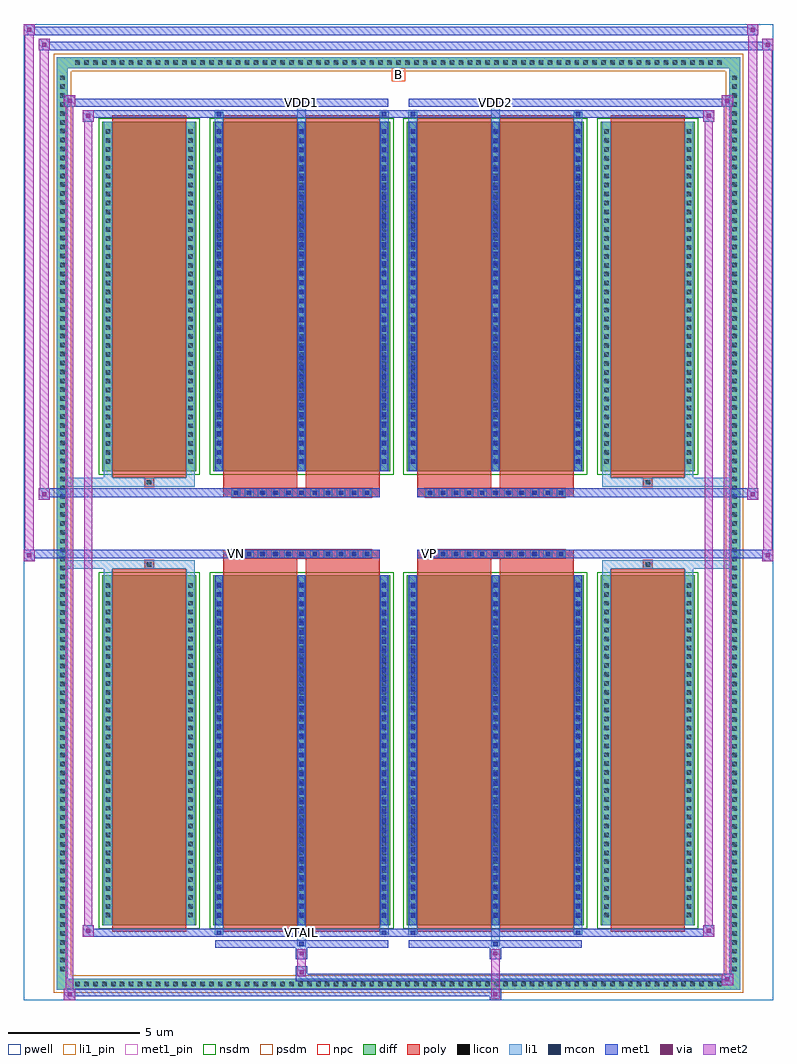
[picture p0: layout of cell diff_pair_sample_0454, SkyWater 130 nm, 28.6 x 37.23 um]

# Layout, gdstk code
import gdstk
lib = gdstk.Library(unit=1e-6, precision=5e-09)
def R(c, l, rs):  # rectangles x0, y0, x1, y1
    for r in rs: c.add(gdstk.rectangle(r[:2], r[2:], *l))
def A(c, l, x, y, w, h, nx, ny, dx, dy):  # array of equal rectangles
    R(c, l, [(x+i*dx, y+j*dy, x+i*dx+w, y+j*dy+h) for i in range(nx) for j in range(ny)])
def P(c, l, *ps):  # polygons
    for p in ps: c.add(gdstk.Polygon(p, *l))
pwell = (64, 44)
diff = (65, 20)
poly = (66, 20)
licon = (66, 44)
li1_pin = (67, 16)
li1 = (67, 20)
mcon = (67, 44)
met1_pin = (68, 16)
met1 = (68, 20)
via = (68, 44)
met2 = (69, 20)
nsdm = (93, 44)
psdm = (94, 20)
npc = (95, 20)

diff_pair_sample_0454 = lib.new_cell('diff_pair_sample_0454')
R(diff_pair_sample_0454, pwell, [(-14.3,-18.18,14.3,19.05), (-11.62,-16.37,-0.01,-0.805), (0.01,-16.37,11.62,-0.805), (-11.62,0.805,-0.01,16.37), (0.01,0.805,11.62,16.37)])
A(diff_pair_sample_0454, diff, -12.445, -17.78, 0.41, 0.41, 73, 2, 0.34, 35.15)
A(diff_pair_sample_0454, diff, -13.03, -17.205, 0.41, 0.41, 1, 101, 0, 0.34)
A(diff_pair_sample_0454, diff, 12.62, -17.205, 0.41, 0.41, 1, 101, 0, 0.34)
R(diff_pair_sample_0454, diff, [(-12.445,-17.78,12.445,-17.37), (-13.03,-17.205,-12.62,17.205), (12.62,-17.205,13.03,17.205), (-11.31,-15.325,-7.71,-1.985), (-7.07,-15.325,-0.32,-1.985), (0.32,-15.325,7.07,-1.985), (7.71,-15.325,11.31,-1.985), (-11.31,1.985,-7.71,15.325), (-7.07,1.985,-0.32,15.325), (0.32,1.985,7.07,15.325), (7.71,1.985,11.31,15.325), (-12.445,17.37,12.445,17.78)])
P(diff_pair_sample_0454, diff, [(13.03,17.78),(-13.03,17.78),(-13.03,-17.37),(-12.62,-17.37),(-12.62,17.37),(12.62,17.37),(12.62,-17.37),(-12.62,-17.37),(-13.03,-17.37),(-13.03,-17.78),(13.03,-17.78)])
A(diff_pair_sample_0454, poly, -6.36, -1.335, 0.33, 0.33, 11, 2, 0.5, 2.34)
A(diff_pair_sample_0454, poly, 1.03, -1.335, 0.33, 0.33, 11, 2, 0.5, 2.34)
R(diff_pair_sample_0454, poly, [(-10.92,-15.575,-8.1,-1.735), (-6.68,-15.575,-3.86,-1.735), (-3.53,-15.575,-0.71,-1.735), (0.71,-15.575,3.53,-1.735), (3.86,-15.575,6.68,-1.735), (8.1,-15.575,10.92,-1.735), (-9.675,-1.735,-9.345,-1.405), (-9.675,-1.735,-9.345,-1.405), (-6.68,-1.735,-3.86,-1.335), (-3.53,-1.735,-0.71,-1.335), (0.71,-1.735,3.53,-1.335), (3.86,-1.735,6.68,-1.335), (9.345,-1.735,9.675,-1.405), (9.345,-1.735,9.675,-1.405), (-6.68,-1.335,-0.71,-1.005), (0.71,-1.335,6.68,-1.005), (-6.68,1.005,-0.71,1.335), (0.71,1.005,6.68,1.335), (-6.68,1.335,-3.86,1.735), (-3.53,1.335,-0.71,1.735), (0.71,1.335,3.53,1.735), (3.86,1.335,6.68,1.735), (-9.675,1.405,-9.345,1.735), (-9.675,1.405,-9.345,1.735), (9.345,1.405,9.675,1.735), (9.345,1.405,9.675,1.735), (-10.92,1.735,-8.1,15.575), (-6.68,1.735,-3.86,15.575), (-3.53,1.735,-0.71,15.575), (0.71,1.735,3.53,15.575), (3.86,1.735,6.68,15.575), (8.1,1.735,10.92,15.575)])
A(diff_pair_sample_0454, licon, -12.325, -17.66, 0.17, 0.17, 73, 2, 0.34, 35.15)
A(diff_pair_sample_0454, licon, -12.91, -17.085, 0.17, 0.17, 1, 101, 0, 0.34)
A(diff_pair_sample_0454, licon, 12.74, -17.085, 0.17, 0.17, 1, 101, 0, 0.34)
A(diff_pair_sample_0454, licon, -11.17, -15.03, 0.17, 0.17, 1, 38, 0, 0.34)
A(diff_pair_sample_0454, licon, -8.02, -15.03, 0.17, 0.17, 1, 38, 0, 0.34)
A(diff_pair_sample_0454, licon, -6.93, -15.03, 0.17, 0.17, 3, 38, 3.15, 0.34)
A(diff_pair_sample_0454, licon, 0.46, -15.03, 0.17, 0.17, 3, 38, 3.15, 0.34)
A(diff_pair_sample_0454, licon, 7.85, -15.03, 0.17, 0.17, 1, 38, 0, 0.34)
A(diff_pair_sample_0454, licon, 11, -15.03, 0.17, 0.17, 1, 38, 0, 0.34)
A(diff_pair_sample_0454, licon, -6.28, -1.255, 0.17, 0.17, 11, 2, 0.5, 2.34)
A(diff_pair_sample_0454, licon, 1.11, -1.255, 0.17, 0.17, 11, 2, 0.5, 2.34)
A(diff_pair_sample_0454, licon, -11.17, 2.28, 0.17, 0.17, 1, 38, 0, 0.34)
A(diff_pair_sample_0454, licon, -8.02, 2.28, 0.17, 0.17, 1, 38, 0, 0.34)
A(diff_pair_sample_0454, licon, -6.93, 2.28, 0.17, 0.17, 3, 38, 3.15, 0.34)
A(diff_pair_sample_0454, licon, 0.46, 2.28, 0.17, 0.17, 3, 38, 3.15, 0.34)
A(diff_pair_sample_0454, licon, 7.85, 2.28, 0.17, 0.17, 1, 38, 0, 0.34)
A(diff_pair_sample_0454, licon, 11, 2.28, 0.17, 0.17, 1, 38, 0, 0.34)
R(diff_pair_sample_0454, licon, [(-9.595,-1.655,-9.425,-1.485), (9.425,-1.655,9.595,-1.485), (-9.595,1.485,-9.425,1.655), (9.425,1.485,9.595,1.655)])
R(diff_pair_sample_0454, li1_pin, [(-0.25,16.87,0.25,17.37)])
A(diff_pair_sample_0454, li1, -12.405, -17.74, 0.33, 0.33, 73, 2, 0.34, 35.15)
A(diff_pair_sample_0454, li1, -12.99, -17.165, 0.33, 0.33, 1, 101, 0, 0.34)
A(diff_pair_sample_0454, li1, 12.66, -17.165, 0.33, 0.33, 1, 101, 0, 0.34)
A(diff_pair_sample_0454, li1, -7.01, -15.325, 0.33, 13.34, 3, 2, 3.15, 17.31)
A(diff_pair_sample_0454, li1, 0.38, -15.325, 0.33, 13.34, 3, 2, 3.15, 17.31)
A(diff_pair_sample_0454, li1, -11.25, -15.11, 0.33, 0.33, 1, 38, 0, 0.34)
A(diff_pair_sample_0454, li1, -8.1, -15.11, 0.33, 0.33, 1, 38, 0, 0.34)
A(diff_pair_sample_0454, li1, -7.01, -15.11, 0.33, 0.33, 3, 38, 3.15, 0.34)
A(diff_pair_sample_0454, li1, 0.38, -15.11, 0.33, 0.33, 3, 38, 3.15, 0.34)
A(diff_pair_sample_0454, li1, 7.77, -15.11, 0.33, 0.33, 1, 38, 0, 0.34)
A(diff_pair_sample_0454, li1, 10.92, -15.11, 0.33, 0.33, 1, 38, 0, 0.34)
A(diff_pair_sample_0454, li1, -6.93, -15.04, 0.17, 0.17, 3, 36, 3.15, 0.36)
A(diff_pair_sample_0454, li1, -6.93, -15.04, 0.17, 12.77, 3, 2, 3.15, 17.31)
A(diff_pair_sample_0454, li1, 0.46, -15.04, 0.17, 0.17, 3, 36, 3.15, 0.36)
A(diff_pair_sample_0454, li1, 0.46, -15.04, 0.17, 12.77, 3, 2, 3.15, 17.31)
A(diff_pair_sample_0454, li1, -6.36, -1.335, 0.33, 0.33, 11, 2, 0.5, 2.34)
A(diff_pair_sample_0454, li1, 1.03, -1.335, 0.33, 0.33, 11, 2, 0.5, 2.34)
A(diff_pair_sample_0454, li1, -11.25, 2.2, 0.33, 0.33, 1, 38, 0, 0.34)
A(diff_pair_sample_0454, li1, -8.1, 2.2, 0.33, 0.33, 1, 38, 0, 0.34)
A(diff_pair_sample_0454, li1, -7.01, 2.2, 0.33, 0.33, 3, 38, 3.15, 0.34)
A(diff_pair_sample_0454, li1, 0.38, 2.2, 0.33, 0.33, 3, 38, 3.15, 0.34)
A(diff_pair_sample_0454, li1, 7.77, 2.2, 0.33, 0.33, 1, 38, 0, 0.34)
A(diff_pair_sample_0454, li1, 10.92, 2.2, 0.33, 0.33, 1, 38, 0, 0.34)
A(diff_pair_sample_0454, li1, -6.93, 2.27, 0.17, 0.17, 3, 36, 3.15, 0.36)
A(diff_pair_sample_0454, li1, 0.46, 2.27, 0.17, 0.17, 3, 36, 3.15, 0.36)
R(diff_pair_sample_0454, li1, [(-13.03,-17.78,-12.62,-17.37), (-13.03,-17.78,-12.62,-17.37), (-12.62,-17.78,12.62,-17.37), (12.62,-17.78,13.03,-17.37), (12.62,-17.78,13.03,-17.37), (-13.03,-17.37,-12.62,17.37), (12.62,-17.37,13.03,17.37), (-3.86,-16.13,-3.53,-15.325), (-3.78,-16.13,-3.61,-15.96), (3.53,-16.13,3.86,-15.325), (3.61,-16.13,3.78,-15.96), (-7.01,-15.7,-6.68,-15.325), (-6.93,-15.7,-6.76,-15.53), (-0.71,-15.7,-0.38,-15.325), (-0.63,-15.7,-0.46,-15.53), (0.38,-15.7,0.71,-15.325), (0.46,-15.7,0.63,-15.53), (6.68,-15.7,7.01,-15.325), (6.76,-15.7,6.93,-15.53), (-11.25,-15.325,-10.92,-1.985), (-8.1,-15.325,-7.77,-1.985), (7.77,-15.325,8.1,-1.985), (10.92,-15.325,11.25,-1.985), (-11.25,-1.985,-10.92,-1.405), (-8.1,-1.985,-7.77,-1.405), (7.77,-1.985,8.1,-1.405), (10.92,-1.985,11.25,-1.405), (-13.03,-1.735,-9.675,-1.405), (-11.25,-1.735,-9.675,-1.405), (-9.675,-1.735,-9.345,-1.405), (-9.345,-1.735,-7.77,-1.405), (7.77,-1.735,9.345,-1.405), (9.345,-1.735,9.675,-1.405), (9.345,-1.735,13.03,-1.405), (9.675,-1.735,11.25,-1.405), (-13.03,1.405,-9.675,1.735), (-11.25,1.405,-9.675,1.735), (-11.25,1.405,-10.92,1.985), (-9.675,1.405,-9.345,1.735), (-9.345,1.405,-7.77,1.735), (-8.1,1.405,-7.77,1.985), (7.77,1.405,9.345,1.735), (7.77,1.405,8.1,1.985), (9.345,1.405,9.675,1.735), (9.345,1.405,13.03,1.735), (9.675,1.405,11.25,1.735), (10.92,1.405,11.25,1.985), (-11.25,1.985,-10.92,15.325), (-8.1,1.985,-7.77,15.325), (7.77,1.985,8.1,15.325), (10.92,1.985,11.25,15.325), (-7.01,15.325,-6.68,15.7), (-3.86,15.325,-3.53,16.13), (-0.71,15.325,-0.38,15.7), (0.38,15.325,0.71,15.7), (3.53,15.325,3.86,16.13), (6.68,15.325,7.01,15.7), (-6.93,15.53,-6.76,15.7), (-0.63,15.53,-0.46,15.7), (0.46,15.53,0.63,15.7), (6.76,15.53,6.93,15.7), (-3.78,15.96,-3.61,16.13), (3.61,15.96,3.78,16.13), (-13.03,17.37,-12.62,17.78), (-13.03,17.37,-12.62,17.78), (-12.62,17.37,12.62,17.78), (12.62,17.37,13.03,17.78), (12.62,17.37,13.03,17.78)])
A(diff_pair_sample_0454, mcon, -6.93, -15.04, 0.17, 0.17, 3, 36, 3.15, 0.36)
A(diff_pair_sample_0454, mcon, 0.46, -15.04, 0.17, 0.17, 3, 36, 3.15, 0.36)
A(diff_pair_sample_0454, mcon, -6.28, -1.255, 0.17, 0.17, 11, 2, 0.5, 2.34)
A(diff_pair_sample_0454, mcon, 1.11, -1.255, 0.17, 0.17, 11, 2, 0.5, 2.34)
A(diff_pair_sample_0454, mcon, -6.93, 2.27, 0.17, 0.17, 3, 36, 3.15, 0.36)
A(diff_pair_sample_0454, mcon, 0.46, 2.27, 0.17, 0.17, 3, 36, 3.15, 0.36)
R(diff_pair_sample_0454, mcon, [(-3.78,-16.13,-3.61,-15.96), (3.61,-16.13,3.78,-15.96), (-6.93,-15.7,-6.76,-15.53), (-0.63,-15.7,-0.46,-15.53), (0.46,-15.7,0.63,-15.53), (6.76,-15.7,6.93,-15.53), (-6.93,15.53,-6.76,15.7), (-0.63,15.53,-0.46,15.7), (0.46,15.53,0.63,15.7), (6.76,15.53,6.93,15.7), (-3.78,15.96,-3.61,16.13), (3.61,15.96,3.78,16.13)])
R(diff_pair_sample_0454, met1_pin, [(-3.83,-15.74,-3.56,-15.47), (-6.33,-1.295,-6.06,-1.025), (1.06,-1.295,1.33,-1.025), (-3.83,15.92,-3.56,16.19), (3.56,15.92,3.83,16.19)])
A(diff_pair_sample_0454, met1, -6.99, -15.325, 0.29, 13.34, 3, 2, 3.15, 17.31)
A(diff_pair_sample_0454, met1, 0.4, -15.325, 0.29, 13.34, 3, 2, 3.15, 17.31)
A(diff_pair_sample_0454, met1, -6.99, -15.1, 0.29, 0.29, 3, 36, 3.15, 0.36)
A(diff_pair_sample_0454, met1, 0.4, -15.1, 0.29, 0.29, 3, 36, 3.15, 0.36)
A(diff_pair_sample_0454, met1, -6.34, -1.315, 0.29, 0.29, 11, 2, 0.5, 2.34)
A(diff_pair_sample_0454, met1, 1.05, -1.315, 0.29, 0.29, 11, 2, 0.5, 2.34)
A(diff_pair_sample_0454, met1, -6.99, 2.21, 0.29, 0.29, 3, 36, 3.15, 0.36)
A(diff_pair_sample_0454, met1, 0.4, 2.21, 0.29, 0.29, 3, 36, 3.15, 0.36)
R(diff_pair_sample_0454, met1, [(-12.76,-18.18,-12.33,-17.75), (3.48,-18.18,3.91,-17.75), (-12.76,-18.04,3.91,-17.75), (12.33,-17.61,12.76,-17.18), (-3.91,-17.47,12.76,-17.18), (-3.91,-17.33,-3.48,-16.9), (-3.91,-16.62,-3.48,-16.19), (3.48,-16.62,3.91,-16.19), (-6.99,-16.19,-0.4,-15.9), (-3.84,-16.19,-3.55,-15.9), (0.4,-16.19,6.99,-15.9), (3.55,-16.19,3.84,-15.9), (-12.05,-15.76,-11.62,-15.33), (-12.05,-15.76,-6.99,-15.47), (-6.99,-15.76,-6.7,-15.47), (-6.99,-15.76,-0.4,-15.47), (-0.69,-15.76,-0.4,-15.47), (-0.4,-15.76,0.4,-15.47), (0.4,-15.76,0.69,-15.47), (0.4,-15.76,6.99,-15.47), (6.7,-15.76,6.99,-15.47), (6.99,-15.76,12.05,-15.47), (11.62,-15.76,12.05,-15.33), (-14.3,-1.435,-13.87,-1.005), (13.87,-1.435,14.3,-1.005), (-14.3,-1.335,-0.71,-1.005), (-6.68,-1.335,-0.71,-1.005), (0.71,-1.335,6.68,-1.005), (0.71,-1.335,14.3,-1.005), (-13.73,0.905,-13.3,1.335), (13.3,0.905,13.73,1.335), (-13.73,1.005,-6.68,1.335), (-6.68,1.005,-0.71,1.335), (0.71,1.005,6.68,1.335), (6.68,1.005,13.73,1.335), (-12.05,15.33,-11.62,15.76), (11.62,15.33,12.05,15.76), (-12.05,15.47,-6.99,15.76), (-6.99,15.47,-6.7,15.76), (-6.99,15.47,-0.4,15.76), (-0.69,15.47,-0.4,15.76), (-0.4,15.47,0.4,15.76), (0.4,15.47,0.69,15.76), (0.4,15.47,6.99,15.76), (6.7,15.47,6.99,15.76), (6.99,15.47,12.05,15.76), (-12.76,15.9,-12.33,16.33), (-12.76,15.9,-6.99,16.19), (-6.99,15.9,-0.4,16.19), (-3.84,15.9,-3.55,16.19), (0.4,15.9,6.99,16.19), (3.55,15.9,3.84,16.19), (6.99,15.9,12.76,16.19), (12.33,15.9,12.76,16.33), (-13.73,18.05,-13.3,18.48), (-13.73,18.05,-11.62,18.38), (-11.62,18.05,11.62,18.38), (11.62,18.05,14.3,18.38), (13.87,18.05,14.3,18.48), (-14.3,18.62,-13.87,19.05), (-14.3,18.62,-11.62,18.95), (-11.62,18.62,11.62,18.95), (11.62,18.62,13.73,18.95), (13.3,18.62,13.73,19.05)])
R(diff_pair_sample_0454, via, [(-12.62,-18.04,-12.47,-17.89), (3.62,-18.04,3.77,-17.89), (12.47,-17.47,12.62,-17.32), (-3.77,-17.19,-3.62,-17.04), (-3.77,-16.48,-3.62,-16.33), (3.62,-16.48,3.77,-16.33), (-11.91,-15.62,-11.76,-15.47), (11.76,-15.62,11.91,-15.47), (-14.16,-1.295,-14.01,-1.145), (14.01,-1.295,14.16,-1.145), (-13.59,1.045,-13.44,1.195), (13.44,1.045,13.59,1.195), (-11.91,15.47,-11.76,15.62), (11.76,15.47,11.91,15.62), (-12.62,16.04,-12.47,16.19), (12.47,16.04,12.62,16.19), (-13.59,18.19,-13.44,18.34), (14.01,18.19,14.16,18.34), (-14.16,18.76,-14.01,18.91), (13.44,18.76,13.59,18.91)])
R(diff_pair_sample_0454, met2, [(-12.76,-18.18,-12.33,-17.75), (-12.69,-18.18,-12.4,16.33), (-12.4,-18.18,-12.33,-17.75), (-12.71,-18.13,-12.38,-17.8), (3.53,-18.13,3.86,-17.8), (3.53,-17.8,3.86,-16.57), (12.33,-17.61,12.76,-17.18), (12.4,-17.61,12.69,16.33), (12.69,-17.61,12.76,-17.18), (12.38,-17.56,12.71,-17.23), (-3.86,-17.28,-3.53,-16.95), (-3.86,-16.95,-3.53,-16.57), (-3.86,-16.57,-3.53,-16.24), (3.53,-16.57,3.86,-16.24), (-12.05,-15.76,-11.62,-15.33), (-11.98,-15.76,-11.69,15.76), (-11.69,-15.76,-11.62,-15.33), (11.62,-15.76,12.05,-15.33), (11.69,-15.76,11.98,15.76), (11.98,-15.76,12.05,-15.33), (-12,-15.71,-11.67,-15.38), (11.67,-15.71,12,-15.38), (-14.3,-1.435,-13.87,-1.005), (-14.25,-1.435,-13.92,19.05), (-13.92,-1.435,-13.87,-1.005), (13.87,-1.435,14.3,-1.005), (13.92,-1.435,14.25,18.48), (14.25,-1.435,14.3,-1.005), (-14.25,-1.385,-13.92,-1.055), (13.92,-1.385,14.25,-1.055), (-13.73,0.905,-13.3,1.335), (-13.68,0.905,-13.35,18.48), (-13.35,0.905,-13.3,1.335), (13.3,0.905,13.73,1.335), (13.35,0.905,13.68,19.05), (13.68,0.905,13.73,1.335), (-13.68,0.955,-13.35,1.285), (13.35,0.955,13.68,1.285), (-12.05,15.33,-11.62,15.76), (-11.69,15.33,-11.62,15.76), (11.62,15.33,12.05,15.76), (11.98,15.33,12.05,15.76), (-12,15.38,-11.67,15.71), (11.67,15.38,12,15.71), (-12.76,15.9,-12.33,16.33), (-12.4,15.9,-12.33,16.33), (12.33,15.9,12.76,16.33), (12.69,15.9,12.76,16.33), (-12.71,15.95,-12.38,16.28), (12.38,15.95,12.71,16.28), (-13.73,18.05,-13.3,18.48), (-13.35,18.05,-13.3,18.48), (13.87,18.05,14.3,18.48), (14.25,18.05,14.3,18.48), (-13.68,18.1,-13.35,18.43), (13.92,18.1,14.25,18.43), (-14.3,18.62,-13.87,19.05), (-13.92,18.62,-13.87,19.05), (13.3,18.62,13.73,19.05), (13.68,18.62,13.73,19.05), (-14.25,18.67,-13.92,19), (13.35,18.67,13.68,19)])
R(diff_pair_sample_0454, nsdm, [(-11.44,-15.455,-7.58,-1.855), (-7.2,-15.455,-0.19,-1.855), (0.19,-15.455,7.2,-1.855), (7.58,-15.455,11.44,-1.855), (-11.44,1.855,-7.58,15.455), (-7.2,1.855,-0.19,15.455), (0.19,1.855,7.2,15.455), (7.58,1.855,11.44,15.455)])
P(diff_pair_sample_0454, psdm, [(13.16,17.91),(-13.16,17.91),(-13.16,-17.24),(-12.49,-17.24),(-12.49,17.24),(12.49,17.24),(12.49,-17.24),(-12.49,-17.24),(-13.16,-17.24),(-13.16,-17.91),(13.16,-17.91)])
A(diff_pair_sample_0454, npc, -6.38, -1.355, 0.37, 0.37, 11, 2, 0.5, 2.34)
A(diff_pair_sample_0454, npc, 1.01, -1.355, 0.37, 0.37, 11, 2, 0.5, 2.34)
R(diff_pair_sample_0454, npc, [(-9.695,-1.755,-9.325,-1.385), (9.325,-1.755,9.695,-1.385), (-6.38,-1.355,-5.51,-0.985), (-6.38,-1.355,-5.51,-0.985), (-5.88,-1.355,-5.01,-0.985), (-5.88,-1.355,-5.01,-0.985), (-5.38,-1.355,-4.51,-0.985), (-5.38,-1.355,-4.51,-0.985), (-4.88,-1.355,-4.01,-0.985), (-4.88,-1.355,-4.01,-0.985), (-4.38,-1.355,-3.51,-0.985), (-4.38,-1.355,-3.51,-0.985), (-3.88,-1.355,-3.01,-0.985), (-3.88,-1.355,-3.01,-0.985), (-3.38,-1.355,-2.51,-0.985), (-3.38,-1.355,-2.51,-0.985), (-2.88,-1.355,-2.01,-0.985), (-2.88,-1.355,-2.01,-0.985), (-2.38,-1.355,-1.51,-0.985), (-2.38,-1.355,-1.51,-0.985), (-1.88,-1.355,-1.01,-0.985), (-1.88,-1.355,-1.01,-0.985), (1.01,-1.355,1.88,-0.985), (1.01,-1.355,1.88,-0.985), (1.51,-1.355,2.38,-0.985), (1.51,-1.355,2.38,-0.985), (2.01,-1.355,2.88,-0.985), (2.01,-1.355,2.88,-0.985), (2.51,-1.355,3.38,-0.985), (2.51,-1.355,3.38,-0.985), (3.01,-1.355,3.88,-0.985), (3.01,-1.355,3.88,-0.985), (3.51,-1.355,4.38,-0.985), (3.51,-1.355,4.38,-0.985), (4.01,-1.355,4.88,-0.985), (4.01,-1.355,4.88,-0.985), (4.51,-1.355,5.38,-0.985), (4.51,-1.355,5.38,-0.985), (5.01,-1.355,5.88,-0.985), (5.01,-1.355,5.88,-0.985), (5.51,-1.355,6.38,-0.985), (5.51,-1.355,6.38,-0.985), (-6.38,0.985,-5.51,1.355), (-6.38,0.985,-5.51,1.355), (-5.88,0.985,-5.01,1.355), (-5.88,0.985,-5.01,1.355), (-5.38,0.985,-4.51,1.355), (-5.38,0.985,-4.51,1.355), (-4.88,0.985,-4.01,1.355), (-4.88,0.985,-4.01,1.355), (-4.38,0.985,-3.51,1.355), (-4.38,0.985,-3.51,1.355), (-3.88,0.985,-3.01,1.355), (-3.88,0.985,-3.01,1.355), (-3.38,0.985,-2.51,1.355), (-3.38,0.985,-2.51,1.355), (-2.88,0.985,-2.01,1.355), (-2.88,0.985,-2.01,1.355), (-2.38,0.985,-1.51,1.355), (-2.38,0.985,-1.51,1.355), (-1.88,0.985,-1.01,1.355), (-1.88,0.985,-1.01,1.355), (1.01,0.985,1.88,1.355), (1.01,0.985,1.88,1.355), (1.51,0.985,2.38,1.355), (1.51,0.985,2.38,1.355), (2.01,0.985,2.88,1.355), (2.01,0.985,2.88,1.355), (2.51,0.985,3.38,1.355), (2.51,0.985,3.38,1.355), (3.01,0.985,3.88,1.355), (3.01,0.985,3.88,1.355), (3.51,0.985,4.38,1.355), (3.51,0.985,4.38,1.355), (4.01,0.985,4.88,1.355), (4.01,0.985,4.88,1.355), (4.51,0.985,5.38,1.355), (4.51,0.985,5.38,1.355), (5.01,0.985,5.88,1.355), (5.01,0.985,5.88,1.355), (5.51,0.985,6.38,1.355), (5.51,0.985,6.38,1.355), (-9.695,1.385,-9.325,1.755), (9.325,1.385,9.695,1.755)])
diff_pair_sample_0454.add(gdstk.Label('VTAIL', (-3.695,-15.605), layer=68, texttype=5))
diff_pair_sample_0454.add(gdstk.Label('VN', (-6.195,-1.16), layer=68, texttype=5))
diff_pair_sample_0454.add(gdstk.Label('VP', (1.195,-1.16), layer=68, texttype=5))
diff_pair_sample_0454.add(gdstk.Label('B', (0,17.12), layer=67, texttype=5))
diff_pair_sample_0454.add(gdstk.Label('VDD2', (3.695,16.055), layer=68, texttype=5))
diff_pair_sample_0454.add(gdstk.Label('VDD1', (-3.695,16.055), layer=68, texttype=5))

lib.write_gds('diff_pair_sample_0454.gds')
